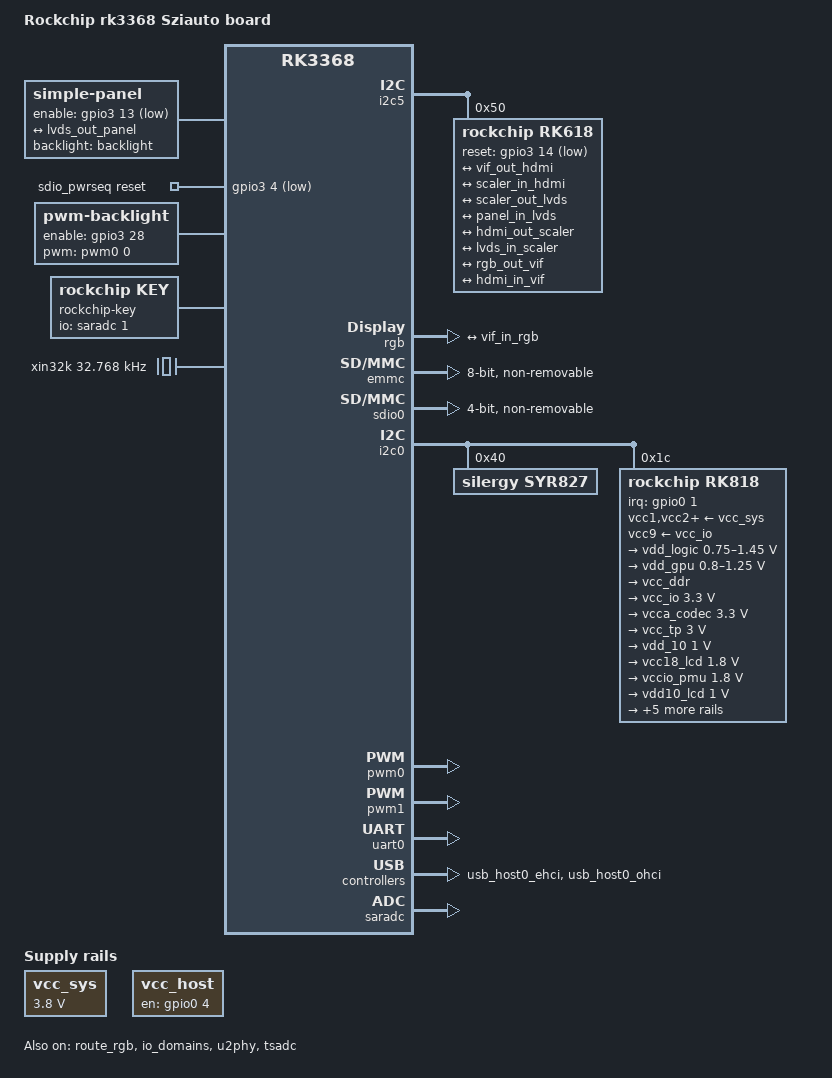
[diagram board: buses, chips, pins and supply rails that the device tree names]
/*
 * Copyright (c) 2017 Fuzhou Rockchip Electronics Co., Ltd
 *
 * This file is dual-licensed: you can use it either under the terms
 * of the GPL or the X11 license, at your option. Note that this dual
 * licensing only applies to this file, and not this project as a
 * whole.
 *
 *  a) This file is free software; you can redistribute it and/or
 *     modify it under the terms of the GNU General Public License as
 *     published by the Free Software Foundation; either version 2 of the
 *     License, or (at your option) any later version.
 *
 *     This file is distributed in the hope that it will be useful,
 *     but WITHOUT ANY WARRANTY; without even the implied warranty of
 *     MERCHANTABILITY or FITNESS FOR A PARTICULAR PURPOSE.  See the
 *     GNU General Public License for more details.
 *
 * Or, alternatively,
 *
 *  b) Permission is hereby granted, free of charge, to any person
 *     obtaining a copy of this software and associated documentation
 *     files (the "Software"), to deal in the Software without
 *     restriction, including without limitation the rights to use,
 *     copy, modify, merge, publish, distribute, sublicense, and/or
 *     sell copies of the Software, and to permit persons to whom the
 *     Software is furnished to do so, subject to the following
 *     conditions:
 *
 *     The above copyright notice and this permission notice shall be
 *     included in all copies or substantial portions of the Software.
 *
 *     THE SOFTWARE IS PROVIDED "AS IS", WITHOUT WARRANTY OF ANY KIND,
 *     EXPRESS OR IMPLIED, INCLUDING BUT NOT LIMITED TO THE WARRANTIES
 *     OF MERCHANTABILITY, FITNESS FOR A PARTICULAR PURPOSE AND
 *     NONINFRINGEMENT. IN NO EVENT SHALL THE AUTHORS OR COPYRIGHT
 *     HOLDERS BE LIABLE FOR ANY CLAIM, DAMAGES OR OTHER LIABILITY,
 *     WHETHER IN AN ACTION OF CONTRACT, TORT OR OTHERWISE, ARISING
 *     FROM, OUT OF OR IN CONNECTION WITH THE SOFTWARE OR THE USE OR
 *     OTHER DEALINGS IN THE SOFTWARE.
 */

/dts-v1/;
#include "rk3368.dtsi"
#include "rk3368-android.dtsi"
#include <dt-bindings/pwm/pwm.h>
#include <dt-bindings/clock/rk618-cru.h>

/ {
	model = "Rockchip rk3368 Sziauto board";
	compatible = "rockchip,sziauto", "rockchip,rk3368";

	panel {
		compatible = "simple-panel";
		backlight = <&backlight>;
		enable-gpios = <&gpio3 13 GPIO_ACTIVE_LOW>;
		prepare-delay-ms = <20>;
		enable-delay-ms = <20>;
		disable-delay-ms = <20>;
		unprepare-delay-ms = <20>;
		/*
		 * MEDIA_BUS_FMT_RGB888_1X7X4_SPWG  - "vesa-24"
		 * MEDIA_BUS_FMT_RGB888_1X7X4_JEIDA - "jedia-24"
		 * MEDIA_BUS_FMT_RGB666_1X7X3_SPWG  - "jedia-18"
		 */
		bus-format = <MEDIA_BUS_FMT_RGB888_1X7X4_SPWG>;

		display-timings {
			native-mode = <&timing0>;

			timing0: timing0 {
				clock-frequency = <136000000>;
				hactive = <1920>;
				vactive = <1080>;
				hback-porch = <60>;
				hfront-porch = <60>;
				hsync-len = <40>;
				vback-porch = <4>;
				vfront-porch = <4>;
				vsync-len = <3>;
				hsync-active = <0>;
				vsync-active = <0>;
				de-active = <0>;
				pixelclk-active = <0>;
			};
		};

		port {
			panel_in_lvds: endpoint {
				remote-endpoint = <&lvds_out_panel>;
			};
		};
	};

	sdio_pwrseq: sdio-pwrseq {
		compatible = "mmc-pwrseq-simple";
		clocks = <&rk818 1>;
		clock-names = "ext_clock";
		pinctrl-names = "default";
		pinctrl-0 = <&wifi_enable_h>;

		/*
		 * On the module itself this is one of these (depending
		 * on the actual card populated):
		 * - SDIO_RESET_L_WL_REG_ON
		 * - PDN (power down when low)
		 */
		 reset-gpios = <&gpio3 4 GPIO_ACTIVE_LOW>;
	};

	backlight: backlight {
		compatible = "pwm-backlight";
		pwms = <&pwm0 0 50000 0>;
		brightness-levels = <
			 32  32  34  34  36  36  38  38  40  40
			 42  42  44  44  46  46  48  48  50  50
			 52  52  54  54  56  56  58  58  60  60
			 62  62  64  64  66  66  68  68  70  70
			 72  72  74  74  76  76  78  78  80  80
			 82  82  84  84  86  86  88  88  90  90
			 92  92  94  94  96  96  98  98 100 100
			102 102 104 104 106 106 108 108 110 110
			112 112 114 114 116 116 118 118 120 120
			122 122 124 124 126 126 128 128 130 130
			132 132 134 134 136 136 138 138 140 140
			142 142 144 144 146 146 148 148 150 150
			152 152 154 154 156 156 158 158 160 160
			162 162 164 164 166 166 168 168 170 170
			172 172 174 174 176 176 178 178 180 180
			182 182 184 184 186 186 188 188 190 190
			192 192 194 194 196 196 198 198 200 200
			202 202 204 204 206 206 208 208 210 210
			212 212 214 214 216 216 218 218 220 220
			222 222 224 224 225 225 226 226 227 227
			228 228 229 229 230 230 231 231 232 232
			233 233 234 234 235 235 236 236 237 237
			238 238 239 239 240 240 241 241 242 242
			243 243 244 244 245 245 246 246 247 247
			248 248 249 249 250 250 251 251 252 252
			253 253 254 254 255 255>;
		default-brightness-level = <120>;
		enable-gpios = <&gpio3 28 GPIO_ACTIVE_HIGH>;
	};

	rockchip-key {
		compatible = "rockchip,key";
		io-channels = <&saradc 1>;
		status = "okay";

		vol-up-key {
			linux,code = <115>;
			label = "volume up";
			rockchip,adc_value = <1>;
		};

		vol-down-key {
			linux,code = <114>;
			label = "volume down";
			rockchip,adc_value = <170>;
		};

		power-key {
			gpios = <&gpio0 2 GPIO_ACTIVE_LOW>;
			linux,code = <116>;
			label = "power";
			gpio-key,wakeup;
		};

		menu-key {
			linux,code = <59>;
			label = "menu";
			rockchip,adc_value = <355>;
		};

		home-key {
			linux,code = <102>;
			label = "home";
			rockchip,adc_value = <746>;
		};

		back-key {
			linux,code = <158>;
			label = "back";
			rockchip,adc_value = <560>;
		};

		camera-key {
			linux,code = <212>;
			label = "camera";
			rockchip,adc_value = <450>;
		};
	};

	vcc_sys: vcc-sys {
		compatible = "regulator-fixed";
		regulator-name = "vcc_sys";
		regulator-always-on;
		regulator-boot-on;
		regulator-min-microvolt = <3800000>;
		regulator-max-microvolt = <3800000>;
	};

	vcc_host: vcc-host {
		compatible = "regulator-fixed";
		enable-active-high;
		gpio = <&gpio0 4 GPIO_ACTIVE_HIGH>;
		pinctrl-names = "default";
		pinctrl-0 = <&host_vbus_drv>;
		regulator-name = "vcc_host";
		regulator-always-on;
	};

	xin32k: xin32k {
		compatible = "fixed-clock";
		clock-frequency = <32768>;
		clock-output-names = "xin32k";
		#clock-cells = <0>;
	};
};

&firmware_android {
	compatible = "android,firmware";
	fstab {
		compatible = "android,fstab";
		system {
			compatible = "android,system";
			dev = "/dev/block/by-name/system";
			type = "ext4";
			mnt_flags = "ro,barrier=1,inode_readahead_blks=8";
			fsmgr_flags = "wait,verify";
		};
		vendor {
			compatible = "android,vendor";
			dev = "/dev/block/by-name/vendor";
			type = "ext4";
			mnt_flags = "ro,barrier=1,inode_readahead_blks=8";
			fsmgr_flags = "wait,verify";
		};
	};
};

&i2c5 {
	status = "okay";

	rk618@50 {
		compatible = "rockchip,rk618";
		reg = <0x50>;
		pinctrl-names = "default";
		pinctrl-0 = <&i2s_8ch_mclk>;
		clocks = <&cru SCLK_I2S_8CH_OUT>;
		clock-names = "clkin";
		assigned-clocks = <&cru SCLK_I2S_8CH_OUT>;
		assigned-clock-rates = <12000000>;
		reset-gpios = <&gpio3 14 GPIO_ACTIVE_LOW>;
		status = "okay";

		clock: cru {
			compatible = "rockchip,rk618-cru";
			clocks = <&cru SCLK_I2S_8CH_OUT>, <&cru DCLK_VOP>;
			clock-names = "clkin", "lcdc0_dclkp";
			assigned-clocks = <&clock SCALER_PLLIN_CLK>, <&clock VIF_PLLIN_CLK>,
					  <&clock SCALER_CLK>, <&clock VIF0_PRE_CLK>,
					  <&clock CODEC_CLK>, <&clock DITHER_CLK>;
			assigned-clock-parents = <&cru SCLK_I2S_8CH_OUT>, <&clock LCDC0_CLK>,
						 <&clock SCALER_PLL_CLK>, <&clock VIF_PLL_CLK>,
						 <&cru SCLK_I2S_8CH_OUT>, <&clock VIF0_CLK>;
			#clock-cells = <1>;
			status = "okay";
		};

		hdmi {
			compatible = "rockchip,rk618-hdmi";
			clocks = <&clock HDMI_CLK>;
			clock-names = "hdmi";
			assigned-clocks = <&clock HDMI_CLK>;
			assigned-clock-parents = <&clock VIF0_CLK>;
			interrupt-parent = <&gpio3>;
			interrupts = <23 IRQ_TYPE_LEVEL_HIGH>;
			status = "okay";

			ports {
				#address-cells = <1>;
				#size-cells = <0>;

				port@0 {
					reg = <0>;

					hdmi_in_vif: endpoint {
						remote-endpoint = <&vif_out_hdmi>;
					};
				};

				port@1 {
					reg = <1>;

					hdmi_out_scaler: endpoint {
						remote-endpoint = <&scaler_in_hdmi>;
					};
				};
			};
		};

		lvds {
			compatible = "rockchip,rk618-lvds";
			clocks = <&clock LVDS_CLK>;
			clock-names = "lvds";
			dual-channel;
			status = "okay";

			ports {
				#address-cells = <1>;
				#size-cells = <0>;

				port@0 {
					reg = <0>;

					lvds_in_scaler: endpoint {
						remote-endpoint = <&scaler_out_lvds>;
					};
				};

				port@1 {
					reg = <1>;

					lvds_out_panel: endpoint {
						remote-endpoint = <&panel_in_lvds>;
					};
				};
			};
		};

		scaler {
			compatible = "rockchip,rk618-scaler";
			clocks = <&clock SCALER_CLK>, <&clock VIF0_CLK>,
				 <&clock DITHER_CLK>;
			clock-names = "scaler", "vif", "dither";
			status = "okay";

			ports {
				#address-cells = <1>;
				#size-cells = <0>;

				port@0 {
					reg = <0>;

					scaler_in_hdmi: endpoint {
						remote-endpoint = <&hdmi_out_scaler>;
					};
				};

				port@1 {
					reg = <1>;

					scaler_out_lvds: endpoint {
						remote-endpoint = <&lvds_in_scaler>;
					};
				};
			};
		};

		vif {
			compatible = "rockchip,rk618-vif";
			clocks = <&clock VIF0_CLK>, <&clock VIF0_PRE_CLK>;
			clock-names = "vif", "vif_pre";
			status = "okay";

			ports {
				#address-cells = <1>;
				#size-cells = <0>;

				port@0 {
					reg = <0>;

					vif_in_rgb: endpoint {
						remote-endpoint = <&rgb_out_vif>;
					};
				};

				port@1 {
					reg = <1>;

					vif_out_hdmi: endpoint {
						remote-endpoint = <&hdmi_in_vif>;
					};
				};
			};
		};
	};
};

&rgb {
	status = "okay";

	ports {
		port@1 {
			reg = <1>;

			rgb_out_vif: endpoint {
				remote-endpoint = <&vif_in_rgb>;
			};
		};
	};
};

&route_rgb {
	status = "okay";
};

&emmc {
	status = "okay";
	bus-width = <8>;
	cap-mmc-highspeed;
	mmc-hs200-1_8v;
	supports-emmc;
	disable-wp;
	non-removable;
	num-slots = <1>;
	pinctrl-names = "default";
	pinctrl-0 = <&emmc_clk &emmc_cmd &emmc_bus8>;
};

&sdmmc {
	status = "disabled";
	clock-frequency = <37500000>;
	clock-freq-min-max = <400000 37500000>;
	supports-sd;
	cap-mmc-highspeed;
	cap-sd-highspeed;
	card-detect-delay = <200>;
	disable-wp;
	num-slots = <1>;
	pinctrl-names = "default";
	pinctrl-0 = <&sdmmc_clk &sdmmc_cmd &sdmmc_cd &sdmmc_bus4>;
};

&sdio0 {
	clock-frequency = <50000000>;
	clock-freq-min-max = <200000 50000000>;
	supports-sdio;
	bus-width = <4>;
	disable-wp;
	cap-sd-highspeed;
	cap-sdio-irq;
	keep-power-in-suspend;
	mmc-pwrseq = <&sdio_pwrseq>;
	non-removable;
	num-slots = <1>;
	pinctrl-names = "default";
	pinctrl-0 = <&sdio0_bus4 &sdio0_cmd &sdio0_clk>;
	sd-uhs-sdr104;
	status = "okay";
};

&i2c0 {
	status = "okay";

	syr827: syr827@40 {
		compatible = "silergy,syr827";
		reg = <0x40>;
		fcs,suspend-voltage-selector = <1>;

		regulator-compatible = "fan53555-reg";
		regulator-name = "vdd_arm";
		regulator-min-microvolt = <712500>;
		regulator-max-microvolt = <1500000>;
		regulator-ramp-delay = <1000>;
		regulator-always-on;
		regulator-boot-on;
		regulator-initial-state = <3>;

		regulator-state-mem {
			regulator-off-in-suspend;
			regulator-suspend-microvolt = <900000>;
		};
	};

	rk818: pmic@1c {
		compatible = "rockchip,rk818";
		reg = <0x1c>;
		clock-output-names = "rk818-clkout1", "wifibt_32kin";
		interrupt-parent = <&gpio0>;
		interrupts = <1 IRQ_TYPE_LEVEL_LOW>;
		pinctrl-names = "default";
		pinctrl-0 = <&pmic_int_l>;
		rockchip,system-power-controller;
		wakeup-source;
		#clock-cells = <1>;

		vcc1-supply = <&vcc_sys>;
		vcc2-supply = <&vcc_sys>;
		vcc3-supply = <&vcc_sys>;
		vcc4-supply = <&vcc_sys>;
		vcc6-supply = <&vcc_sys>;
		vcc7-supply = <&vcc_sys>;
		vcc8-supply = <&vcc_sys>;
		vcc9-supply = <&vcc_io>;

		regulators {
			vdd_logic: DCDC_REG1 {
				regulator-name = "vdd_logic";
				regulator-always-on;
				regulator-boot-on;
				regulator-min-microvolt = <750000>;
				regulator-max-microvolt = <1450000>;
				regulator-ramp-delay = <6001>;

				regulator-state-mem {
					regulator-on-in-suspend;
					regulator-suspend-microvolt = <1000000>;
				};
			};

			vdd_gpu: DCDC_REG2 {
				regulator-name = "vdd_gpu";
				regulator-always-on;
				regulator-boot-on;
				regulator-min-microvolt = <800000>;
				regulator-max-microvolt = <1250000>;
				regulator-ramp-delay = <6001>;

				regulator-state-mem {
					regulator-on-in-suspend;
					regulator-suspend-microvolt = <1000000>;
				};
			};

			vcc_ddr: DCDC_REG3 {
				regulator-always-on;
				regulator-boot-on;
				regulator-name = "vcc_ddr";

				regulator-state-mem {
					regulator-on-in-suspend;
				};
			};

			vcc_io: DCDC_REG4 {
				regulator-always-on;
				regulator-boot-on;
				regulator-min-microvolt = <3300000>;
				regulator-max-microvolt = <3300000>;
				regulator-name = "vcc_io";

				regulator-state-mem {
					regulator-on-in-suspend;
					regulator-suspend-microvolt = <3300000>;
				};
			};

			vcca_codec: LDO_REG1 {
				regulator-always-on;
				regulator-boot-on;
				regulator-min-microvolt = <3300000>;
				regulator-max-microvolt = <3300000>;
				regulator-name = "vcca_codec";

				regulator-state-mem {
					regulator-on-in-suspend;
					regulator-suspend-microvolt = <3300000>;
				};
			};

			vcc_tp: LDO_REG2 {
				regulator-always-on;
				regulator-boot-on;
				regulator-min-microvolt = <3000000>;
				regulator-max-microvolt = <3000000>;
				regulator-name = "vcc_tp";

				regulator-state-mem {
					regulator-off-in-suspend;
				};
			};

			vdd_10: LDO_REG3 {
				regulator-always-on;
				regulator-boot-on;
				regulator-min-microvolt = <1000000>;
				regulator-max-microvolt = <1000000>;
				regulator-name = "vdd_10";

				regulator-state-mem {
					regulator-on-in-suspend;
					regulator-suspend-microvolt = <1000000>;
				};
			};

			vcc18_lcd: LDO_REG4 {
				regulator-always-on;
				regulator-boot-on;
				regulator-min-microvolt = <1800000>;
				regulator-max-microvolt = <1800000>;
				regulator-name = "vcc18_lcd";

				regulator-state-mem {
					regulator-on-in-suspend;
					regulator-suspend-microvolt = <1800000>;
				};
			};

			vccio_pmu: LDO_REG5 {
				regulator-always-on;
				regulator-boot-on;
				regulator-min-microvolt = <1800000>;
				regulator-max-microvolt = <1800000>;
				regulator-name = "vccio_pmu";

				regulator-state-mem {
					regulator-on-in-suspend;
					regulator-suspend-microvolt = <1800000>;
				};
			};

			vdd10_lcd: LDO_REG6 {
				regulator-always-on;
				regulator-boot-on;
				regulator-min-microvolt = <1000000>;
				regulator-max-microvolt = <1000000>;
				regulator-name = "vdd10_lcd";

				regulator-state-mem {
					regulator-on-in-suspend;
					regulator-suspend-microvolt = <1000000>;
				};
			};

			vcc_18: LDO_REG7 {
				regulator-always-on;
				regulator-boot-on;
				regulator-min-microvolt = <1800000>;
				regulator-max-microvolt = <1800000>;
				regulator-name = "vcc_18";

				regulator-state-mem {
					regulator-on-in-suspend;
					regulator-suspend-microvolt = <1800000>;
				};
			};

			vccio_wl: LDO_REG8 {
				regulator-always-on;
				regulator-boot-on;
				regulator-min-microvolt = <1800000>;
				regulator-max-microvolt = <3300000>;
				regulator-name = "vccio_wl";

				regulator-state-mem {
					regulator-on-in-suspend;
					regulator-suspend-microvolt = <3300000>;
				};
			};

			vccio_sd: LDO_REG9 {
				regulator-always-on;
				regulator-boot-on;
				regulator-min-microvolt = <1800000>;
				regulator-max-microvolt = <3300000>;
				regulator-name = "vccio_sd";

				regulator-state-mem {
					regulator-on-in-suspend;
					regulator-suspend-microvolt = <3300000>;
				};
			};

			vcc_sd: SWITCH_REG {
				regulator-always-on;
				regulator-boot-on;
				regulator-name = "vcc_sd";

				regulator-state-mem {
					regulator-on-in-suspend;
				};
			};

			boost_otg: DCDC_BOOST {
				regulator-name = "boost_otg";
				regulator-always-on;
				regulator-boot-on;
				regulator-min-microvolt = <5000000>;
				regulator-max-microvolt = <5000000>;

				regulator-state-mem {
					regulator-on-in-suspend;
					regulator-suspend-microvolt = <5000000>;
				};
			};
		};
	};
};

&cpu_l0 {
	cpu-supply = <&syr827>;
};

&cpu_l1 {
	cpu-supply = <&syr827>;
};

&cpu_l2 {
	cpu-supply = <&syr827>;
};

&cpu_l3 {
	cpu-supply = <&syr827>;
};

&cpu_b0 {
	cpu-supply = <&syr827>;
};

&cpu_b1 {
	cpu-supply = <&syr827>;
};

&cpu_b2 {
	cpu-supply = <&syr827>;
};

&cpu_b3 {
	cpu-supply = <&syr827>;
};

&gpu {
	logic-supply = <&vdd_logic>;
};

&io_domains {
	dvp-supply = <&vcc_18>;
	audio-supply = <&vcc_io>;
	gpio30-supply = <&vcc_io>;
	gpio1830-supply = <&vcc_io>;
	sdcard-supply = <&vccio_sd>;
	wifi-supply = <&vccio_wl>;
	status = "okay";
};

&pmu_io_domains {
	pmu-supply = <&vcc_io>;
	vop-supply = <&vcc_io>;
	status = "okay";
};

&pwm0 {
	status = "okay";
};

&pwm1 {
	status = "okay";
};

&uart0 {
	pinctrl-names = "default";
	pinctrl-0 = <&uart0_xfer &uart0_cts>;
	status = "okay";
};

&u2phy {
	status = "okay";

	u2phy_host: host-port {
		phy-supply = <&vcc_host>;
		status = "okay";
	};
};

&usb_host0_ehci {
	status = "okay";
};

&usb_host0_ohci {
	status = "okay";
};

&mailbox {
	status = "okay";
};

&mailbox_scpi {
	status = "okay";
};

&saradc {
	status = "okay";
};

&tsadc {
	tsadc-supply = <&syr827>;
	status = "okay";
};

&pinctrl {
	pmic {
		pmic_int_l: pmic-int-l {
			rockchip,pins = <RK_GPIO0 1 RK_FUNC_GPIO &pcfg_pull_up>;
		};
	};

	usb2 {
		host_vbus_drv: host-vbus-drv {
			rockchip,pins = <RK_GPIO0 4 RK_FUNC_GPIO &pcfg_pull_none>;
		};
	};

	sdio-pwrseq {
		wifi_enable_h: wifi-enable-h {
			rockchip,pins = <3 4 RK_FUNC_GPIO &pcfg_pull_none>;
		};
	};
};
